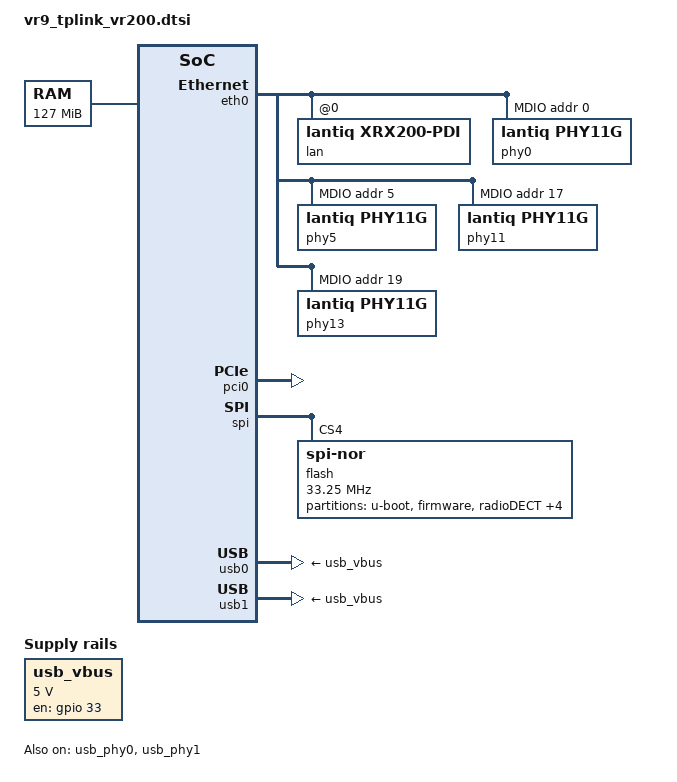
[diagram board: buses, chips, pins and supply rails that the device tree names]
#include "vr9.dtsi"

#include <dt-bindings/input/input.h>
#include <dt-bindings/mips/lantiq_rcu_gphy.h>

/ {
	memory@0 {
		device_type = "memory";
		reg = <0x0 0x7f00000>;
	};

	usb_vbus: regulator-usb-vbus {
		compatible = "regulator-fixed";

		regulator-name = "USB_VBUS";

		regulator-min-microvolt = <5000000>;
		regulator-max-microvolt = <5000000>;

		gpio = <&gpio 33 GPIO_ACTIVE_HIGH>;
		enable-active-high;
	};
};

&eth0 {
	pinctrl-0 = <&mdio_pins>, <&gphy0_led1_pins>, <&gphy1_led1_pins>;
	pinctrl-names = "default";

	lan: interface@0 {
		compatible = "lantiq,xrx200-pdi";
		#address-cells = <1>;
		#size-cells = <0>;
		reg = <0>;
		mtd-mac-address = <&romfile 0xf100>;
		lantiq,switch;

		ethernet@0 {
			compatible = "lantiq,xrx200-pdi-port";
			reg = <0>;
			phy-mode = "rgmii";
			phy-handle = <&phy0>;
			// gpios = <&gpio 42 GPIO_ACTIVE_LOW>;
		};
		ethernet@2 {
			compatible = "lantiq,xrx200-pdi-port";
			reg = <2>;
			phy-mode = "gmii";
			phy-handle = <&phy11>;
		};
		ethernet@4 {
			compatible = "lantiq,xrx200-pdi-port";
			reg = <4>;
			phy-mode = "gmii";
			phy-handle = <&phy13>;
		};
		ethernet@5 {
			compatible = "lantiq,xrx200-pdi-port";
			reg = <5>;
			phy-mode = "rgmii";
			phy-handle = <&phy5>;
		};
	};

	mdio {
		#address-cells = <1>;
		#size-cells = <0>;
		compatible = "lantiq,xrx200-mdio";

		phy0: ethernet-phy@0 {
			reg = <0x0>;
			compatible = "lantiq,phy11g", "ethernet-phy-ieee802.3-c22";
		};
		phy5: ethernet-phy@5 {
			reg = <0x5>;
			compatible = "lantiq,phy11g", "ethernet-phy-ieee802.3-c22";
		};
		phy11: ethernet-phy@11 {
			reg = <0x11>;
			compatible = "lantiq,phy11g", "ethernet-phy-ieee802.3-c22";
		};
		phy13: ethernet-phy@13 {
			reg = <0x13>;
			compatible = "lantiq,phy11g", "ethernet-phy-ieee802.3-c22";
		};
	};
};

&gphy0 {
	lantiq,gphy-mode = <GPHY_MODE_GE>;
};

&gphy1 {
	lantiq,gphy-mode = <GPHY_MODE_GE>;
};

&gpio {
	pinctrl-names = "default";
	pinctrl-0 = <&state_default>;

	state_default: pinmux {
		phy-rst {
			lantiq,pins = "io42";
			lantiq,pull = <0>;
			lantiq,open-drain = <0>;
			lantiq,output = <1>;
		};
		pcie-rst {
			lantiq,pins = "io38";
			lantiq,pull = <0>;
			lantiq,output = <1>;
		};
	};
};

&pcie0 {
	pcie@0 {
		reg = <0 0 0 0 0>;
		#interrupt-cells = <1>;
		#size-cells = <2>;
		#address-cells = <3>;
		device_type = "pci";

		wifi@0,0 {
			reg = <0 0 0 0 0>;
			mediatek,mtd-eeprom = <&radio 0x0000>;
			big-endian;
			ieee80211-freq-limit = <5000000 6000000>;
			mtd-mac-address = <&romfile 0xf100>;
			mtd-mac-address-increment = <2>;
		};
	};
};

&pci0 {
	status = "okay";
	gpio-reset = <&gpio 21 GPIO_ACTIVE_HIGH>;
};

&spi {
	status = "okay";

	flash@4 {
		compatible = "jedec,spi-nor";
		reg = <4>;
		spi-max-frequency = <33250000>;
		m25p,fast-read;

		partitions {
			compatible = "fixed-partitions";
			#address-cells = <1>;
			#size-cells = <1>;

			partition@0 {
				reg = <0x0 0x20000>;
				label = "u-boot";
				read-only;
			};

			partition@20000 {
				reg = <0x20000 0xf90000>;
				label = "firmware";
			};

			partition@fb0000 {
				reg = <0xfb0000 0x10000>;
				label = "radioDECT";
				read-only;
			};

			partition@fc0000 {
				reg = <0xfc0000 0x10000>;
				label = "config";
				read-only;
			};

			romfile: partition@fd0000 {
				reg = <0xfd0000 0x10000>;
				label = "romfile";
				read-only;
			};

			partition@fe0000 {
				reg = <0xfe0000 0x10000>;
				label = "rom";
				read-only;
			};

			radio: partition@ff0000 {
				reg = <0xff0000 0x10000>;
				label = "radio";
				read-only;
			};
		};
	};
};

&usb_phy0 {
	status = "okay";
};

&usb_phy1 {
	status = "okay";
};

&usb0 {
	status = "okay";
	vbus-supply = <&usb_vbus>;
};

&usb1 {
	status = "okay";
	vbus-supply = <&usb_vbus>;
};
